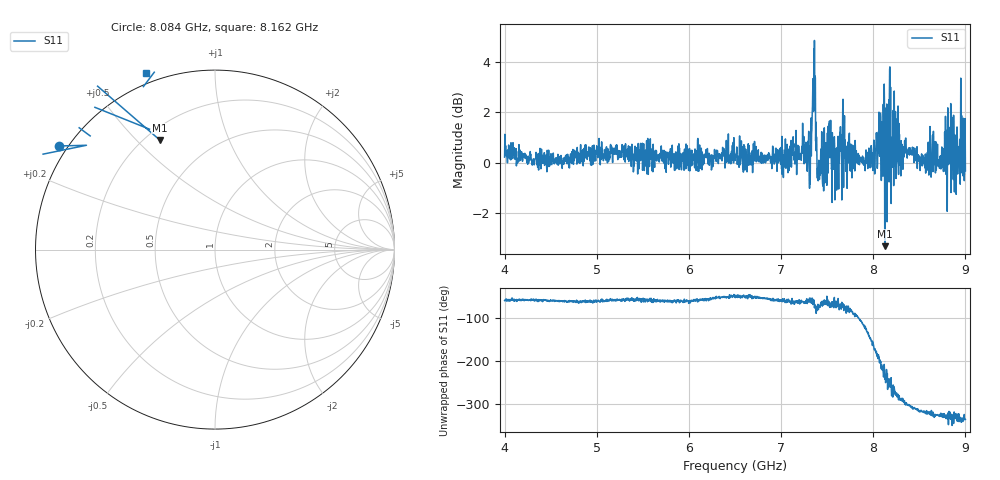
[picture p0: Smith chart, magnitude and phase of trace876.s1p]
! Created with skrf 1.8.0 (http://scikit-rf.org).
# Hz S RI R 50.0
!freq ReS11 ImS11
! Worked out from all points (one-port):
!   1601 points, 4 GHz to 9 GHz, reference 50 ohm
!   lowest |S11| = -3.3 dB at 8.125 GHz (marker M1), VSWR 5.31, Z = 12.8 + j29.3 ohm
!   |S11| at or under -10 dB: nowhere
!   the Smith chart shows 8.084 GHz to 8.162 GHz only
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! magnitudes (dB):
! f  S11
! 4 GHz  0.2
! 4.625 GHz  -0.2
! 5.25 GHz  0.3
! 5.875 GHz  0.3
! 6.5 GHz  0.1
! 7.125 GHz  0.8
! 7.297 GHz  0.7
! 7.347 GHz  3.3
! 7.356 GHz  4.5
! 7.369 GHz  3.4
! 7.4 GHz  -0.7
! 7.412 GHz  -0.2
! 7.516 GHz  0.3
! 7.609 GHz  0.6
! 7.662 GHz  -0.5
! 7.75 GHz  -0.3
! 7.994 GHz  0.4
! 8.097 GHz  1.2
! 8.125 GHz  -3.3
! 8.15 GHz  -2.3
! 8.162 GHz  0.5
! 8.209 GHz  0.7
! 8.375 GHz  0.4
! 8.709 GHz  0.1
! 8.834 GHz  1.4
! 8.919 GHz  -0.1
! 8.972 GHz  0.8
! 9 GHz  -0.3
